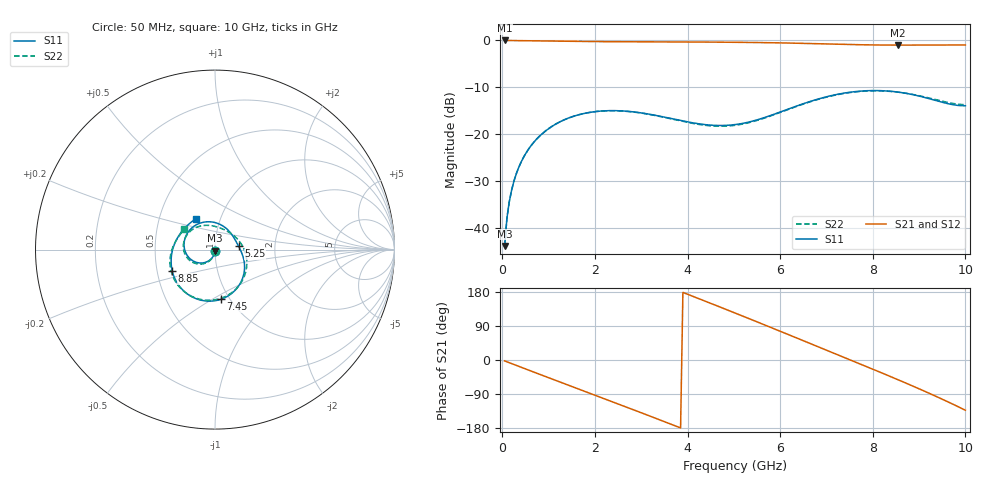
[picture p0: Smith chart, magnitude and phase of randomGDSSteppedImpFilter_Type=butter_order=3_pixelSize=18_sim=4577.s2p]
! freq	dB(S11)	phase(S11)	dB(S12)	phase(S12)
!  dB(S21)	phase(S21)	dB(S22)	phase(S22)
!S-par simulation data
#  GHz  S  DB  R 50
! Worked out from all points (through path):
!   200 points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, 50 MHz to 10 GHz, reference 50 ohm
!   highest |S21| = 0.00 dB at 50 MHz (marker M1); lowest = -1.0 dB at 8.55 GHz (marker M2)
!   group delay of S21, straight-line fit = 136 ps
!   lowest |S11| = -43.7 dB at 50 MHz (marker M3), VSWR 1.01, Z = 50 - j0.649 ohm
!   |S11| at or under -10 dB: start of sweep to end of sweep
!   |S22| runs from -43.8 to -10.7 dB; largest |S21 - S12| = 0
!   S11 on the Smith chart (normalised r, x): 50 MHz: 1.00, -0.01; 5.25 GHz: 1.30, +0.05; 7.45 GHz: 0.91, -0.55; 8.85 GHz: 0.60, -0.15; 10 GHz: 0.77, +0.28
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0.05  -43.75 -91.4  -0.00 -2.4  -0.00 -2.4  -43.78 -91.4
0.1  -37.82 -94.2  -0.01 -4.8  -0.01 -4.8  -37.82 -93.9
0.2  -31.89 -99.7  -0.02 -9.4  -0.02 -9.4  -31.89 -98.8
0.5  -24.16 -115.1  -0.05 -23.5  -0.05 -23.5  -24.16 -113.0
1.15  -17.82 -147.2  -0.13 -53.7  -0.13 -53.7  -17.82 -142.0
1.75  -15.57 -176.6  -0.21 -81.4  -0.21 -81.4  -15.58 -168.2
2.55  -14.97 143.3  -0.28 -118.2  -0.28 -118.2  -15.00 157.8
3.4  -16.11 98.7  -0.30 -157.9  -0.30 -157.9  -16.17 122.7
3.8  -16.94 77.1  -0.32 -176.9  -0.32 -176.9  -17.02 106.2
4.2  -17.68 55.9  -0.33 164.0  -0.33 164.0  -17.80 89.0
4.6  -18.08 35.9  -0.36 144.7  -0.36 144.7  -18.23 70.5
5.05  -17.87 16.0  -0.39 122.8  -0.39 122.8  -18.03 47.3
5.25  -17.53 7.9  -0.41 113.0  -0.41 113.0  -17.67 36.2
5.95  -15.42 -19.0  -0.51 78.4  -0.51 78.4  -15.51 -4.2
6.7  -12.82 -49.7  -0.67 41.0  -0.67 41.0  -12.89 -46.3
7.45  -11.10 -83.1  -0.86 3.4  -0.86 3.4  -11.17 -86.4
7.9  -10.69 -104.3  -0.94 -19.2  -0.94 -19.2  -10.75 -109.9
8.35  -10.78 -126.6  -0.99 -42.0  -0.99 -42.0  -10.82 -133.0
8.55  -11.00 -137.1  -0.99 -52.3  -0.99 -52.3  -11.01 -143.3
8.85  -11.50 -153.7  -0.99 -68.0  -0.99 -68.0  -11.46 -158.6
9.45  -13.02 167.5  -0.95 -100.6  -0.95 -100.6  -12.81 171.8
10  -13.89 121.4  -0.96 -132.6  -0.96 -132.6  -13.68 146.9
